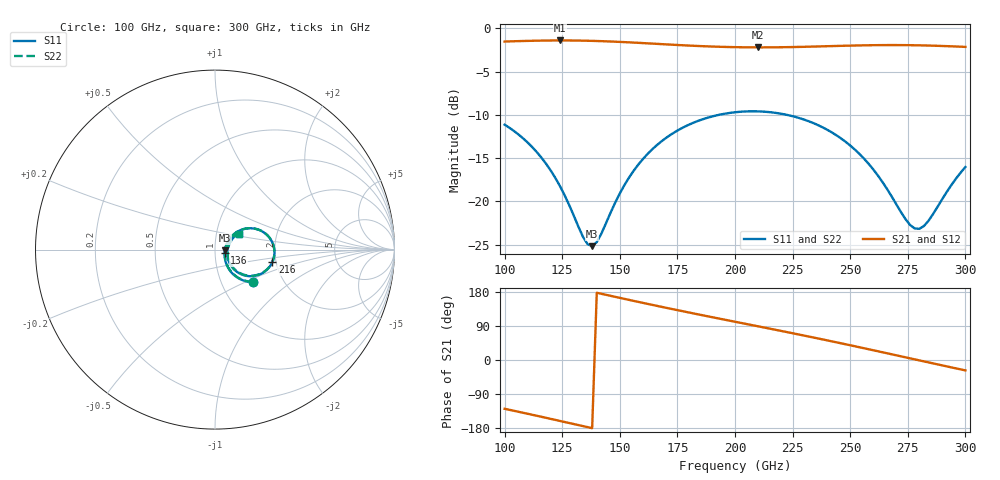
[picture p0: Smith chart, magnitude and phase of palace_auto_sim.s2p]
#  GHZ S DB R 50
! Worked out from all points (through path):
!   101 points, 100 GHz to 300 GHz, reference 50 ohm
!   highest |S21| = -1.40 dB at 124 GHz (marker M1); lowest = -2.2 dB at 210 GHz (marker M2)
!   group delay of S21, straight-line fit = 3.55 ps
!   lowest |S11| = -25.2 dB at 138 GHz (marker M3), VSWR 1.12, Z = 55.8 - j0.533 ohm
!   |S11| at or under -10 dB: start of sweep to 192.9 GHz; 222.6 GHz to end of sweep
!   |S22| runs from -25.0 to -9.6 dB; largest |S21 - S12| = 9.1e-14
!   S11 on the Smith chart (normalised r, x): 100 GHz: 1.41, -0.55; 136 GHz: 1.11, -0.04; 216 GHz: 1.91, -0.30; 300 GHz: 1.28, +0.23
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100  -11.13 -40.7  -1.52 -128.7  -1.52 -128.7  -11.14 -40.3
114  -14.30 -52.0  -1.42 -147.2  -1.42 -147.2  -14.31 -51.4
124  -18.22 -54.1  -1.40 -160.8  -1.40 -160.8  -18.20 -53.2
134  -24.08 -31.2  -1.42 -174.4  -1.42 -174.4  -23.94 -30.2
136  -24.93 -19.1  -1.43 -177.1  -1.43 -177.1  -24.75 -18.2
138  -25.17 -4.9  -1.44 -179.9  -1.44 -179.9  -24.97 -4.5
142  -23.72 19.6  -1.48 174.7  -1.48 174.7  -23.56 19.5
154  -17.24 39.2  -1.62 158.7  -1.62 158.7  -17.20 39.1
160  -15.11 37.6  -1.70 150.8  -1.70 150.8  -15.09 37.6
168  -13.07 32.3  -1.82 140.5  -1.82 140.5  -13.06 32.4
184  -10.69 18.3  -2.04 120.4  -2.04 120.4  -10.69 18.6
200  -9.69 3.1  -2.17 101.0  -2.17 101.0  -9.70 3.4
210  -9.59 -6.6  -2.20 88.9  -2.20 88.9  -9.60 -6.2
216  -9.71 -12.4  -2.19 81.6  -2.19 81.6  -9.71 -11.9
234  -10.94 -29.4  -2.10 59.4  -2.10 59.4  -10.95 -28.7
252  -14.00 -43.4  -1.98 36.3  -1.98 36.3  -14.00 -42.5
260  -16.30 -46.1  -1.94 25.8  -1.94 25.8  -16.28 -45.0
268  -19.42 -42.0  -1.93 15.1  -1.93 15.1  -19.36 -40.7
276  -22.72 -20.7  -1.94 4.4  -1.94 4.4  -22.55 -19.5
280  -23.16 -2.0  -1.96 -1.0  -1.96 -1.0  -22.96 -1.3
284  -22.23 15.1  -1.99 -6.3  -1.99 -6.3  -22.05 15.4
300  -16.02 34.1  -2.14 -27.4  -2.14 -27.4  -15.97 34.3
